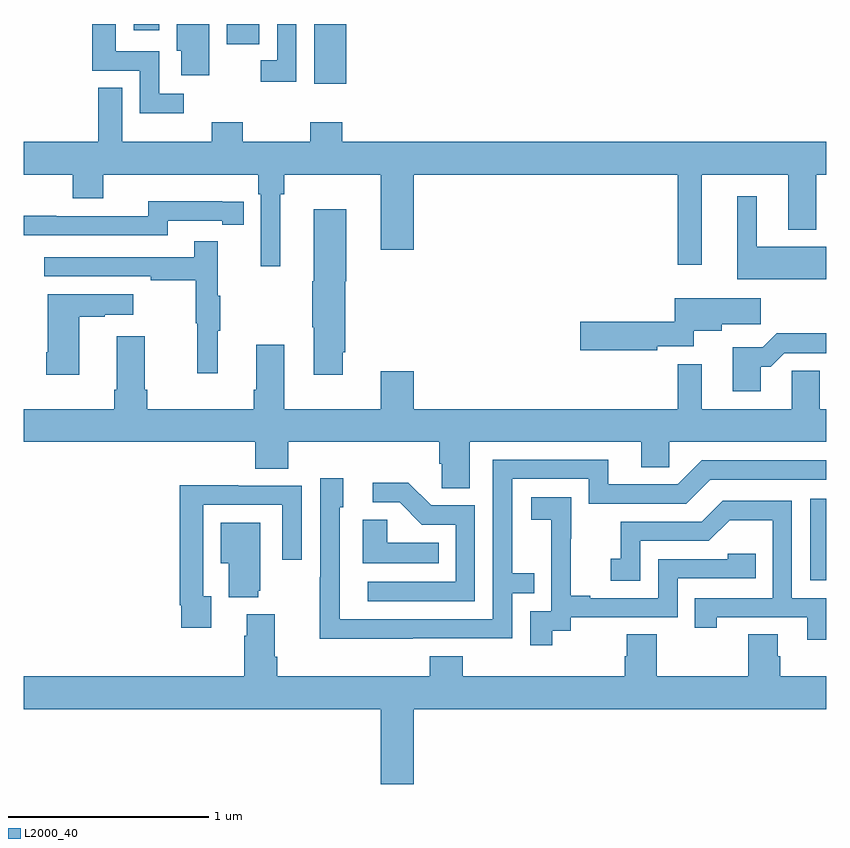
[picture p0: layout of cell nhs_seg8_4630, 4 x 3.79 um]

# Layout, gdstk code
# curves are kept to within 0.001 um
import gdstk
lib = gdstk.Library(unit=1e-6, precision=1e-09)
def R(c, l, rs):  # rectangles x0, y0, x1, y1
    for r in rs: c.add(gdstk.rectangle(r[:2], r[2:], *l))
def P(c, l, *ps):  # polygons
    for p in ps: c.add(gdstk.Polygon(p, *l))
L2000_40 = (2000, 40)

nhs_seg8_4630 = lib.new_cell('nhs_seg8_4630')
R(nhs_seg8_4630, L2000_40, [(394.92,1133.127,395,1133.533), (392.447,1135.602,392.608,1135.9), (392.012,1135.8,392.173,1135.9), (391.547,1135.869,391.674,1135.9)])
P(nhs_seg8_4630, L2000_40, [(391.924,1135.9),(391.763,1135.9),(391.763,1135.767),(391.784,1135.767),(391.784,1135.644),(391.924,1135.644)],
  [(391.798,1135.551),(391.674,1135.551),(391.674,1135.764),(391.459,1135.764),(391.459,1135.9),(391.341,1135.9),(391.341,1135.668),(391.578,1135.668),(391.578,1135.454),(391.798,1135.454)],
  [(392.358,1135.9),(392.262,1135.9),(392.262,1135.719),(392.181,1135.719),(392.181,1135.611),(392.358,1135.611)],
  [(392.278,1135.052),(392.297,1135.052),(392.297,1135.148),(392.78,1135.148),(392.78,1134.774),(392.944,1134.774),(392.944,1135.148),(394.26,1135.148),(394.26,1134.699),(394.381,1134.699),(394.381,1135.148),(394.811,1135.148),(394.811,1134.875),(394.951,1134.875),(394.951,1135.148),(395,1135.148),(395,1135.312),(392.588,1135.312),(392.588,1135.411),(392.428,1135.411),(392.428,1135.312),(392.091,1135.312),(392.091,1135.411),(391.936,1135.411),(391.936,1135.312),(391.489,1135.312),(391.489,1135.583),(391.371,1135.583),(391.371,1135.312),(391,1135.312),(391,1135.148),(391.244,1135.148),(391.244,1135.031),(391.396,1135.031),(391.396,1135.148),(392.168,1135.148),(392.168,1135.052),(392.181,1135.052),(392.181,1134.693),(392.278,1134.693)],
  [(395,1134.79),(394.654,1134.79),(394.654,1135.042),(394.556,1135.042),(394.556,1134.626),(395,1134.626)],
  [(391.716,1134.918),(391.988,1134.918),(391.988,1134.898),(392.096,1134.898),(392.096,1135.014),(391.988,1135.014),(391.988,1135.015),(391.62,1135.015),(391.62,1134.942),(391.16,1134.942),(391.16,1134.944),(391,1134.944),(391,1134.846),(391.716,1134.846)],
  [(392.59,1134.262),(392.603,1134.262),(392.603,1134.618),(392.608,1134.618),(392.608,1134.976),(392.444,1134.976),(392.444,1134.618),(392.437,1134.618),(392.437,1134.388),(392.444,1134.388),(392.444,1134.15),(392.59,1134.15)],
  [(391.967,1134.371),(391.978,1134.371),(391.978,1134.545),(391.967,1134.545),(391.967,1134.817),(391.849,1134.817),(391.849,1134.738),(391.101,1134.738),(391.101,1134.642),(391.633,1134.642),(391.633,1134.622),(391.857,1134.622),(391.857,1134.408),(391.864,1134.408),(391.864,1134.159),(391.967,1134.159)],
  [(391.276,1134.439),(391.403,1134.439),(391.403,1134.449),(391.546,1134.449),(391.546,1134.553),(391.118,1134.553),(391.118,1134.262),(391.111,1134.262),(391.111,1134.15),(391.276,1134.15)],
  [(394.158,1134.293),(394.341,1134.293),(394.341,1134.371),(394.48,1134.371),(394.48,1134.403),(394.675,1134.403),(394.675,1134.532),(394.245,1134.532),(394.245,1134.416),(393.774,1134.416),(393.774,1134.274),(394.158,1134.274)],
  [(394.675,1134.191),(394.724,1134.191),(394.791,1134.258),(395,1134.258),(395,1134.359),(394.754,1134.359),(394.684,1134.289),(394.535,1134.289),(394.535,1134.069),(394.675,1134.069)],
  [(393.223,1133.816),(394.079,1133.816),(394.079,1133.689),(394.218,1133.689),(394.218,1133.816),(395,1133.816),(395,1133.98),(394.969,1133.98),(394.969,1134.17),(394.83,1134.17),(394.83,1133.98),(394.381,1133.98),(394.381,1134.202),(394.26,1134.202),(394.26,1133.98),(392.944,1133.98),(392.944,1134.169),(392.78,1134.169),(392.78,1133.98),(392.299,1133.98),(392.299,1134.301),(392.159,1134.301),(392.159,1134.076),(392.147,1134.076),(392.147,1133.98),(391.616,1133.98),(391.616,1134.076),(391.603,1134.076),(391.603,1134.343),(391.463,1134.343),(391.463,1134.076),(391.451,1134.076),(391.451,1133.98),(391,1133.98),(391,1133.816),(392.153,1133.816),(392.153,1133.683),(392.318,1133.683),(392.318,1133.816),(393.071,1133.816),(393.071,1133.707),(393.084,1133.707),(393.084,1133.584),(393.223,1133.584)],
  [(392.939,1132.836),(393.435,1132.836),(393.435,1133.061),(393.545,1133.061),(393.545,1133.162),(393.435,1133.162),(393.435,1133.631),(393.816,1133.631),(393.816,1133.508),(394.302,1133.508),(394.422,1133.628),(395,1133.628),(395,1133.724),(394.38,1133.724),(394.26,1133.604),(393.913,1133.604),(393.913,1133.727),(393.339,1133.727),(393.339,1132.932),(392.574,1132.932),(392.574,1133.49),(392.593,1133.49),(392.593,1133.635),(392.478,1133.635),(392.478,1133.141),(392.476,1133.141),(392.476,1132.835)],
  [(393.249,1133.499),(393.03,1133.499),(392.917,1133.612),(392.739,1133.612),(392.739,1133.514),(392.873,1133.514),(392.984,1133.403),(393.153,1133.403),(393.153,1133.118),(392.715,1133.118),(392.715,1133.022),(393.249,1133.022)],
  [(391.933,1133.046),(391.893,1133.046),(391.893,1133.502),(392.289,1133.502),(392.289,1133.229),(392.385,1133.229),(392.385,1133.598),(392.069,1133.598),(392.069,1133.6),(391.777,1133.6),(391.777,1133.002),(391.785,1133.002),(391.785,1132.89),(391.933,1132.89)],
  [(393.634,1132.873),(393.726,1132.873),(393.726,1132.941),(394.26,1132.941),(394.26,1133.136),(394.649,1133.136),(394.649,1133.259),(394.509,1133.259),(394.509,1133.232),(394.164,1133.232),(394.164,1133.037),(393.823,1133.037),(393.823,1133.05),(393.728,1133.05),(393.728,1133.333),(393.729,1133.333),(393.729,1133.539),(393.531,1133.539),(393.531,1133.429),(393.629,1133.429),(393.629,1133.201),(393.63,1133.201),(393.63,1132.971),(393.525,1132.971),(393.525,1132.803),(393.634,1132.803)],
  [(395,1133.037),(394.83,1133.037),(394.83,1133.523),(394.484,1133.523),(394.379,1133.418),(393.976,1133.418),(393.976,1133.233),(393.927,1133.233),(393.927,1133.124),(394.074,1133.124),(394.074,1133.322),(394.416,1133.322),(394.52,1133.426),(394.734,1133.426),(394.734,1133.037),(394.345,1133.037),(394.345,1132.89),(394.456,1132.89),(394.456,1132.941),(394.907,1132.941),(394.907,1132.83),(395,1132.83)],
  [(393.068,1133.314),(392.811,1133.314),(392.811,1133.429),(392.69,1133.429),(392.69,1133.21),(393.068,1133.21)],
  [(392.168,1133.073),(392.179,1133.073),(392.179,1133.413),(391.982,1133.413),(391.982,1133.21),(392.021,1133.21),(392.021,1133.042),(392.168,1133.042)],
  [(395,1132.648),(394.772,1132.648),(394.772,1132.746),(394.759,1132.746),(394.759,1132.856),(394.612,1132.856),(394.612,1132.648),(394.155,1132.648),(394.155,1132.856),(394.007,1132.856),(394.007,1132.746),(393.995,1132.746),(393.995,1132.648),(393.188,1132.648),(393.188,1132.747),(393.023,1132.747),(393.023,1132.648),(392.264,1132.648),(392.264,1132.744),(392.251,1132.744),(392.251,1132.957),(392.111,1132.957),(392.111,1132.85),(392.099,1132.85),(392.099,1132.648),(391,1132.648),(391,1132.484),(392.78,1132.484),(392.78,1132.11),(392.944,1132.11),(392.944,1132.484),(395,1132.484)])

lib.write_gds('nhs_seg8_4630.gds')
